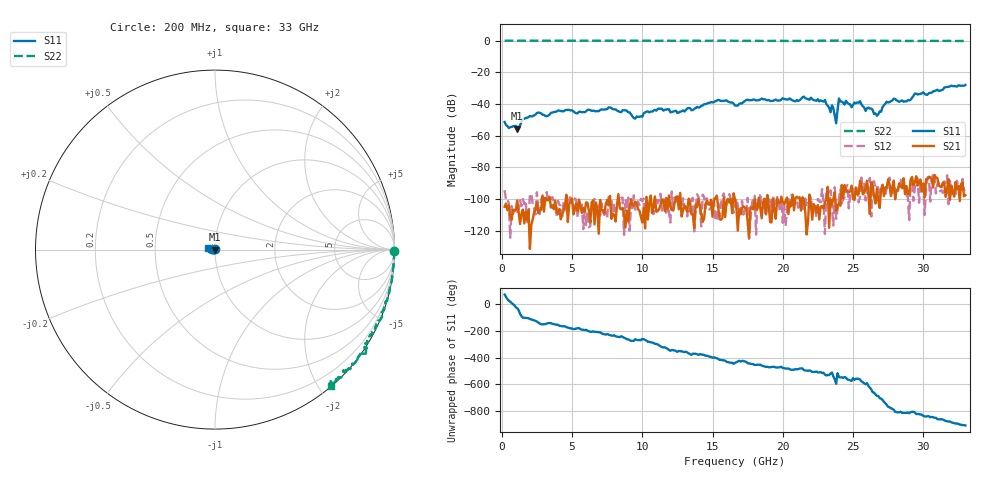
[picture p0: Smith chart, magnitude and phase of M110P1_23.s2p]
# GHZ S RI R 50
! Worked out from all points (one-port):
!   329 points, 200 MHz to 33 GHz, reference 50 ohm
!   lowest |S11| = -55.5 dB at 1.1 GHz (marker M1), VSWR 1.00, Z = 50.1 - j0.0835 ohm
!   |S11| at or under -10 dB: start of sweep to end of sweep
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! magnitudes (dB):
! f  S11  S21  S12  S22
! 200 MHz  -51.4  -105.0  -94.4  0.0
! 1.1 GHz  -55.5  -100.9  -108.8  0.0
! 1.5 GHz  -49.5  -106.7  -100.1  0.0
! 2.6 GHz  -45.4  -109.0  -107.3  0.0
! 5.7 GHz  -45.1  -108.8  -103.6  0.0
! 7.7 GHz  -42.1  -98.1  -98.9  0.0
! 9.5 GHz  -49.2  -101.7  -106.7  0.0
! 11.2 GHz  -42.9  -106.3  -101.1  0.0
! 12.5 GHz  -45.7  -98.3  -101.7  -0.1
! 15.4 GHz  -37.4  -104.6  -102.6  0.0
! 16.6 GHz  -40.9  -100.2  -105.0  -0.1
! 22.1 GHz  -36.9  -113.0  -105.8  -0.1
! 23 GHz  -37.4  -102.1  -122.1  0.0
! 23.4 GHz  -45.2  -100.3  -94.5  0.1
! 23.5 GHz  -40.8  -103.6  -106.0  0.1
! 23.8 GHz  -52.2  -107.5  -112.5  0.1
! 24 GHz  -36.5  -102.6  -99.9  0.0
! 24.9 GHz  -42.0  -91.6  -95.8  0.0
! 25.5 GHz  -38.2  -88.5  -98.8  0.0
! 26.7 GHz  -47.4  -93.6  -92.3  0.0
! 27.6 GHz  -38.8  -90.6  -86.5  0.0
! 33 GHz  -27.9  -97.7  -94.3  0.0
